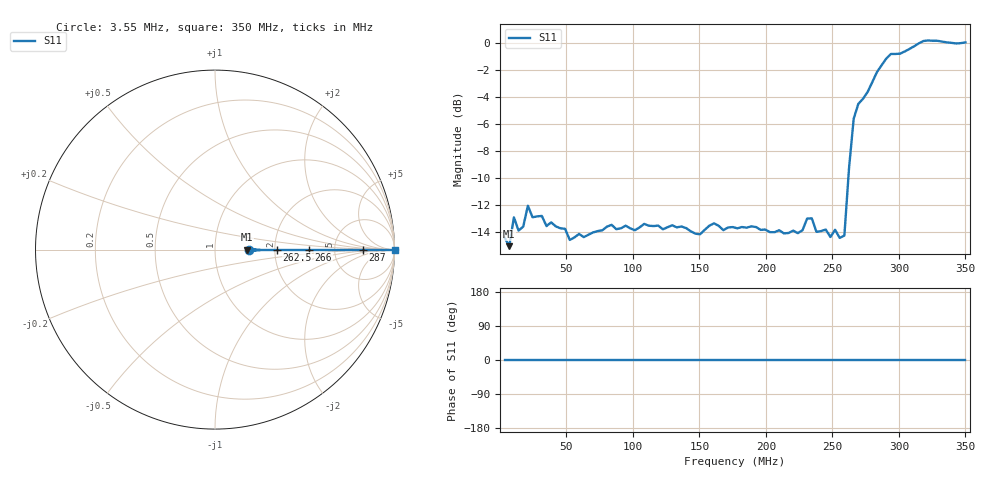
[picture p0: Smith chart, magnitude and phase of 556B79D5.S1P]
!File created by NanoVNA
# Hz S RI R 50
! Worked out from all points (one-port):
!   100 points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, 3.55 MHz to 350 MHz, reference 50 ohm
!   lowest |S11| = -15.0 dB at 7.049 MHz (marker M1), VSWR 1.43, Z = 71.5 + j0 ohm
!   |S11| at or under -10 dB: start of sweep to 262 MHz
!   S11 on the Smith chart (normalised r, x): 3.55 MHz: 1.47, +0.00; 262.5 MHz: 2.05, +0.00; 266 MHz: 3.20, +0.00; 287 MHz: 10, +0; 350 MHz: open
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3549500  0.1906 0
7049000  0.1772 0
1.05485e7  0.2264 0
1.4048e7  0.2023 0
1.75475e7  0.2092 0
2.1047e7  0.2498 0
2.45465e7  0.2266 0
3.15455e7  0.2291 0
3.5045e7  0.2102 0
4.9043e7  0.2052 0
5.25425e7  0.1868 0
9.1037e7  0.2063 0
1.365305e8  0.2094 0
1.505285e8  0.196 0
1.61027e8  0.2152 0
1.785245e8  0.2062 0
2.205185e8  0.2022 0
2.345165e8  0.2244 0
2.38016e8  0.2002 0
2.59013e8  0.1939 0
2.625125e8  0.3439 0
2.66012e8  0.5233 0
2.695115e8  0.5938 0
2.87009e8  0.8244 0
2.94008e8  0.9072 0
3.08006e8  0.9471 0
3.22004e8  1.018 0
3.5e8  1.001 0
